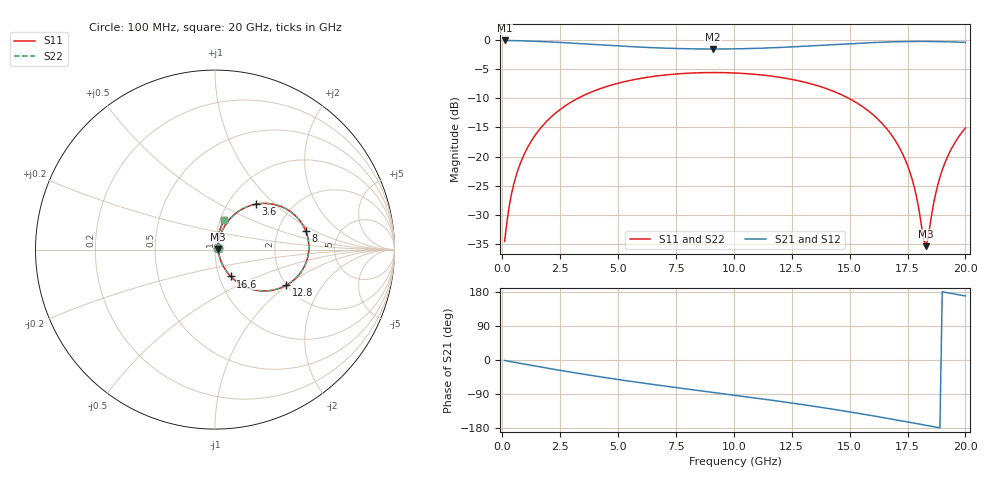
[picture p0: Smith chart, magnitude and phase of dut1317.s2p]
! Touchstone file exported from HFSS 2026.1.0
!  File:  C:/ffzhzh/LocalFiles/Ansys_Project_Files/temp_train_TSV_RDL_1317_1783336133_38704.aedt
!  Generated:  07:23:05 PM Jul  6, 2026
!  Design:  TSV_RDL
!  Project:  temp_train_TSV_RDL_1317_1783336133_38704
! Variables:
!  h_bsmrdl = 5.08um
!  h_ox = 20um
!  h_rdl = 5um
!  h_sub = 97.27um
!  h_tmrdl = 2.05um
!  h_tsv = 97.27um
!  h_via = 3um
!  l_bsmrdl = 436.14um
!  l_sub = 2916.67um
!  l_tmrdl = 269.67um
!  m_sub = 200um
!  pitch = 57.97um
!  r_tsv = 11.32um
!  s_tmrdl = 10um
!  w_bsmrdl = 23.22um
!  w_sub = 500um
!  w_tmrdl = 19.97um
!  x_tsv_center1 = 279.655um
!  x_tsv_center2 = 739.015um
!  x_tsv_center3 = 1028.655um
!  x_tsv_center4 = 1488.015um
!  x_tsv_center5 = 1777.655um
!  x_tsv_center6 = 2237.015um
# GHz S MA R 50.000000
! Terminal data exported
! Port[1] = TM_RDL1_1_T1
! Port[2] = TM_RDL5_1_T1
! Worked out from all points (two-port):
!   200 points, 100 MHz to 20 GHz, reference 50 ohm
!   highest |S21| = -0.13 dB at 100 MHz (marker M1); lowest = -1.6 dB at 9.1 GHz (marker M2)
!   |S21| within 3 dB of the highest: start of sweep to end of sweep
!   lowest |S11| = -35.4 dB at 18.3 GHz (marker M3), VSWR 1.03, Z = 51.7 + j0.337 ohm
!   |S11| at or under -10 dB: start of sweep to 3.282 GHz; 14.94 GHz to end of sweep
!   |S22| runs from -35.3 to -5.6 dB; largest |S21 - S12| = 9.2e-14
!   S11 on the Smith chart (normalised r, x): 100 MHz: 1.03, +0.02; 3.6 GHz: 1.34, +0.76; 8 GHz: 2.88, +0.81; 12.8 GHz: 2.00, -0.99; 16.6 GHz: 1.13, -0.35; 20 GHz: 1.05, +0.36
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0.1  0.01874 37.2  0.9852 -1.2  0.9852 -1.2  0.01874 37.2
! Gamma 0 0 0 0
! Port Impedance 50 0 50 0
0.3  0.03768 62.0  0.9838 -3.5  0.9838 -3.5  0.03768 62.0
0.5  0.05846 67.7  0.9818 -5.7  0.9818 -5.7  0.05846 67.7
1.1  0.1202 68.8  0.9744 -12.4  0.9744 -12.4  0.1202 68.8
2.1  0.2172 61.6  0.9564 -23.2  0.9564 -23.2  0.2172 61.6
3.5  0.3324 49.0  0.9223 -37.4  0.9223 -37.4  0.3324 49.0
3.6  0.3395 48.1  0.9197 -38.4  0.9197 -38.4  0.3395 48.1
6.8  0.4928 20.9  0.8495 -67.0  0.8495 -67.0  0.4928 20.9
8  0.5163 11.5  0.8362 -76.7  0.8362 -76.7  0.5163 11.5
9.1  0.5234 3.0  0.8322 -85.5  0.8322 -85.5  0.5234 3.0
10.1  0.5181 -4.7  0.8353 -93.5  0.8353 -93.5  0.5181 -4.7
12.8  0.4448 -26.4  0.8737 -116.2  0.8737 -116.2  0.4448 -26.4
13.4  0.4155 -31.6  0.8868 -121.6  0.8868 -121.6  0.4155 -31.6
15.3  0.2885 -48.5  0.931 -140.0  0.931 -140.0  0.2885 -48.6
16.6  0.1731 -59.7  0.9553 -153.6  0.9553 -153.6  0.1731 -59.7
16.7  0.1635 -60.4  0.9567 -154.7  0.9567 -154.7  0.1635 -60.4
17.6  0.07383 -62.7  0.9653 -164.6  0.9653 -164.6  0.07383 -62.7
17.9  0.04402 -56.5  0.9664 -167.9  0.9664 -167.9  0.04402 -56.5
18.3  0.01708 11.0  0.9664 -172.3  0.9664 -172.3  0.0171 11.0
18.7  0.04657 70.6  0.9647 -176.8  0.9647 -176.8  0.04657 70.5
19  0.07647 75.9  0.9624 179.9  0.9624 179.9  0.07647 75.8
20  0.1755 72.5  0.9483 169.0  0.9483 169.0  0.1755 72.5
